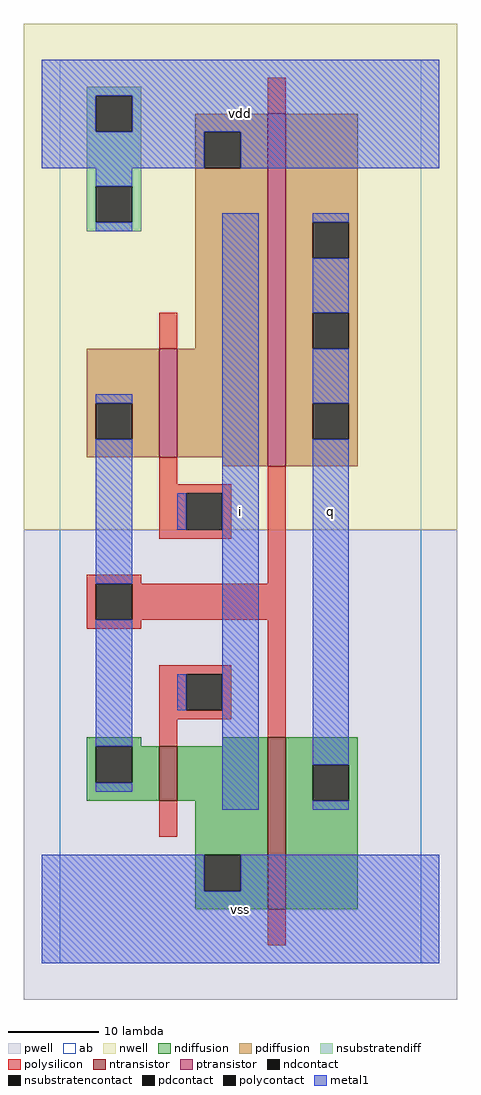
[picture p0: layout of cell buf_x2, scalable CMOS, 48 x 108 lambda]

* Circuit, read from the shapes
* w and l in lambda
.subckt buf_x2 i q vdd vss
M1 vss i n1 VSUBS nfet w=6 l=2
M2 q n1 vss VSUBS nfet w=19 l=2
M3 vdd i n1 vdd pfet w=12 l=2
M4 q n1 vdd vdd pfet w=39 l=2
.ends

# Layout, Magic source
magic
tech scmos
<< ab >>
rect 0 0 40 100
<< pwell >>
rect -4 -4 44 48
<< nwell >>
rect -4 48 44 104
<< polysilicon >>
rect 23 94 25 98
rect 11 68 13 72
rect 11 53 13 56
rect 11 52 19 53
rect 11 48 14 52
rect 18 48 19 52
rect 11 47 19 48
rect 3 42 9 43
rect 23 42 25 55
rect 3 38 4 42
rect 8 38 25 42
rect 3 37 9 38
rect 11 32 19 33
rect 11 28 14 32
rect 18 28 19 32
rect 11 27 19 28
rect 11 24 13 27
rect 23 25 25 38
rect 11 14 13 18
rect 23 2 25 6
<< ndiffusion >>
rect 3 24 9 25
rect 18 24 23 25
rect 3 20 4 24
rect 8 20 11 24
rect 3 18 11 20
rect 13 18 23 24
rect 15 12 23 18
rect 15 8 16 12
rect 20 8 23 12
rect 15 6 23 8
rect 25 22 33 25
rect 25 18 28 22
rect 32 18 33 22
rect 25 6 33 18
<< pdiffusion >>
rect 15 92 23 94
rect 15 88 16 92
rect 20 88 23 92
rect 15 68 23 88
rect 3 62 11 68
rect 3 58 4 62
rect 8 58 11 62
rect 3 56 11 58
rect 13 56 23 68
rect 18 55 23 56
rect 25 82 33 94
rect 25 78 28 82
rect 32 78 33 82
rect 25 72 33 78
rect 25 68 28 72
rect 32 68 33 72
rect 25 62 33 68
rect 25 58 28 62
rect 32 58 33 62
rect 25 55 33 58
<< metal1 >>
rect -2 96 42 100
rect -2 92 4 96
rect 8 92 42 96
rect -2 88 16 92
rect 20 88 42 92
rect 4 86 8 88
rect 4 81 8 82
rect 4 62 8 63
rect 4 42 8 58
rect 13 48 14 52
rect 4 24 8 38
rect 13 28 14 32
rect 4 19 8 20
rect 18 17 22 83
rect 28 82 32 83
rect 28 72 32 78
rect 28 62 32 68
rect 28 22 32 58
rect 28 17 32 18
rect -2 8 16 12
rect 20 8 42 12
rect -2 0 42 8
<< ntransistor >>
rect 11 18 13 24
rect 23 6 25 25
<< ptransistor >>
rect 11 56 13 68
rect 23 55 25 94
<< polycontact >>
rect 14 48 18 52
rect 4 38 8 42
rect 14 28 18 32
<< ndcontact >>
rect 4 20 8 24
rect 16 8 20 12
rect 28 18 32 22
<< pdcontact >>
rect 16 88 20 92
rect 4 58 8 62
rect 28 78 32 82
rect 28 68 32 72
rect 28 58 32 62
<< nsubstratencontact >>
rect 4 92 8 96
rect 4 82 8 86
<< nsubstratendiff >>
rect 3 96 9 97
rect 3 92 4 96
rect 8 92 9 96
rect 3 86 9 92
rect 3 82 4 86
rect 8 82 9 86
rect 3 81 9 82
<< labels >>
rlabel metal1 20 6 20 6 6 vss
rlabel metal1 20 50 20 50 6 i
rlabel metal1 20 94 20 94 6 vdd
rlabel metal1 30 50 30 50 6 q
<< end >>
